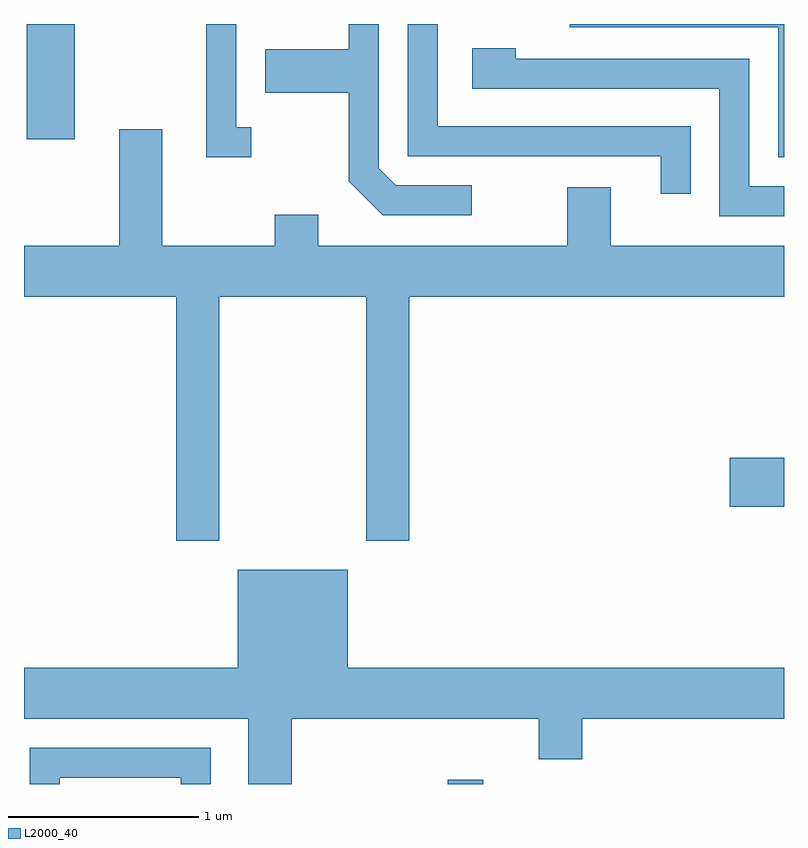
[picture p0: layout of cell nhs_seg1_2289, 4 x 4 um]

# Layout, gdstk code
import gdstk
lib = gdstk.Library(unit=1e-6, precision=1e-09)
def R(c, l, rs):  # rectangles x0, y0, x1, y1
    for r in rs: c.add(gdstk.rectangle(r[:2], r[2:], *l))
def P(c, l, *ps):  # polygons
    for p in ps: c.add(gdstk.Polygon(p, *l))
L2000_40 = (2000, 40)

nhs_seg1_2289 = lib.new_cell('nhs_seg1_2289')
R(nhs_seg1_2289, L2000_40, [(257.841,863.712,258.029,863.734), (259.326,865.171,259.611,865.429), (255.626,867.106,255.879,867.712)])
P(nhs_seg1_2289, L2000_40, [(259.611,867.712),(258.483,867.712),(258.483,867.696),(259.581,867.696),(259.581,867.011),(259.611,867.011)],
  [(259.119,867.174),(257.789,867.174),(257.789,867.712),(257.631,867.712),(257.631,867.016),(258.961,867.016),(258.961,866.818),(259.119,866.818)],
  [(257.968,866.864),(257.567,866.864),(257.479,866.952),(257.479,867.712),(257.321,867.712),(257.321,867.579),(256.881,867.579),(256.881,867.351),(257.321,867.351),(257.321,866.884),(257.498,866.706),(257.968,866.706)],
  [(256.808,867.169),(256.729,867.169),(256.729,867.712),(256.571,867.712),(256.571,867.011),(256.808,867.011)],
  [(259.611,866.859),(259.429,866.859),(259.429,867.529),(258.199,867.529),(258.199,867.584),(257.971,867.584),(257.971,867.371),(259.271,867.371),(259.271,866.701),(259.611,866.701)],
  [(256.411,864.991),(256.639,864.991),(256.639,866.276),(257.411,866.276),(257.411,864.991),(257.639,864.991),(257.639,866.276),(259.611,866.276),(259.611,866.544),(258.699,866.544),(258.699,866.854),(258.471,866.854),(258.471,866.544),(257.159,866.544),(257.159,866.709),(256.931,866.709),(256.931,866.544),(256.339,866.544),(256.339,867.159),(256.111,867.159),(256.111,866.544),(255.611,866.544),(255.611,866.276),(256.411,866.276)],
  [(257.019,864.056),(258.321,864.056),(258.321,863.841),(258.549,863.841),(258.549,864.056),(259.611,864.056),(259.611,864.324),(257.314,864.324),(257.314,864.839),(256.736,864.839),(256.736,864.324),(255.611,864.324),(255.611,864.056),(256.791,864.056),(256.791,863.712),(257.019,863.712)],
  [(255.799,863.746),(256.436,863.746),(256.436,863.712),(256.594,863.712),(256.594,863.904),(255.641,863.904),(255.641,863.712),(255.799,863.712)])

lib.write_gds('nhs_seg1_2289.gds')
